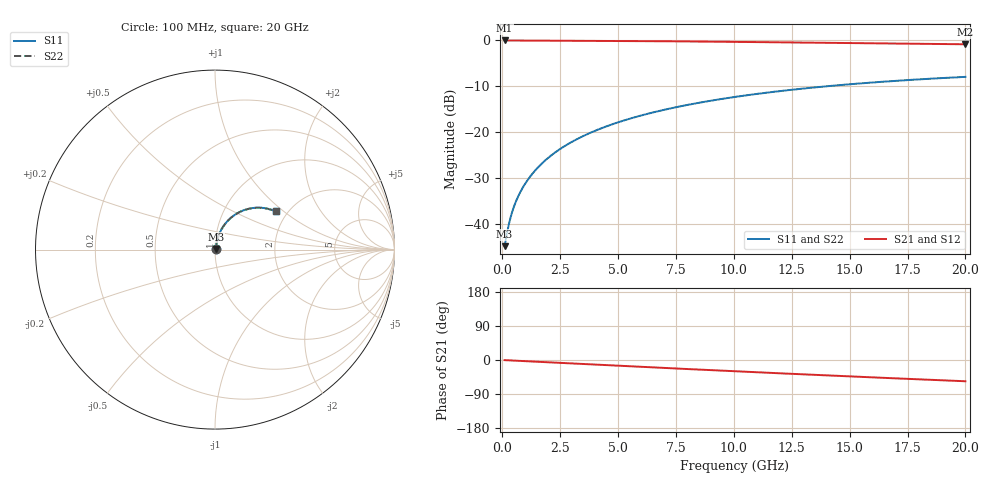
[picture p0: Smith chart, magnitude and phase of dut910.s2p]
! Touchstone file exported from HFSS 2026.1.0
!  File:  C:/ffzhzh/LocalFiles/Ansys_Project_Files/temp_train_TMRDL_910_1783157984_22436.aedt
!  Generated:  05:41:16 PM Jul  4, 2026
!  Design:  TMRDL
!  Project:  temp_train_TMRDL_910_1783157984_22436
! Variables:
!  h_bsmrdl = 2um
!  h_ox = 20um
!  h_rdl = 5um
!  h_sub = 80um
!  h_tmrdl = 2.38um
!  h_tsv = 80um
!  h_via = 3um
!  l_bsmrdl = 300um
!  l_sub = 1289.97um
!  l_tmrdl = 889.97um
!  m_sub = 200um
!  pitch = 50.93um
!  r_tsv = 6um
!  s_tmrdl = 10um
!  w_bsmrdl = 18um
!  w_sub = 500um
!  w_tmrdl = 29.57um
!  x_tsv_center1 = 904.755um
!  x_tsv_center2 = 1222.755um
!  x_tsv_center3 = 2142.295um
!  x_tsv_center4 = 2460.295um
!  x_tsv_center5 = 3379.835um
!  x_tsv_center6 = 3697.835um
# GHz S MA R 50.000000
! Terminal data exported
! Port[1] = TM_RDL1_1_T1
! Port[2] = TM_RDL1_1_T2
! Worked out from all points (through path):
!   200 points, 100 MHz to 20 GHz, reference 50 ohm
!   highest |S21| = -0.04 dB at 100 MHz (marker M1); lowest = -0.9 dB at 20 GHz (marker M2)
!   group delay of S21, straight-line fit = 7.8 ps
!   lowest |S11| = -44.9 dB at 100 MHz (marker M3), VSWR 1.01, Z = 50.5 + j0.305 ohm
!   |S11| at or under -10 dB: start of sweep to 14.09 GHz
!   |S22| runs from -44.9 to -8.0 dB; largest |S21 - S12| = 1.5e-14
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0.1  0.005677 32.1  0.9952 -0.3  0.9952 -0.3  0.005677 32.1
! Gamma 0 0 0 0
! Port Impedance 50 0 50 0
0.2  0.007822 49.3  0.9949 -0.7  0.9949 -0.7  0.007822 49.3
0.3  0.01028 57.8  0.9946 -1.0  0.9946 -1.0  0.01028 57.8
0.4  0.01278 62.6  0.9943 -1.3  0.9943 -1.3  0.01278 62.6
0.5  0.01526 65.8  0.994 -1.6  0.994 -1.6  0.01526 65.8
0.6  0.01771 68.1  0.9938 -1.9  0.9938 -1.9  0.01772 68.1
0.8  0.02262 71.2  0.9934 -2.5  0.9934 -2.5  0.02262 71.2
1.1  0.03004 73.9  0.993 -3.4  0.993 -3.4  0.03004 73.9
1.3  0.03502 74.9  0.9927 -4.0  0.9927 -4.0  0.03502 74.9
1.6  0.04254 75.9  0.9923 -4.9  0.9923 -4.9  0.04255 75.9
2.1  0.05515 76.3  0.9915 -6.4  0.9915 -6.4  0.05515 76.3
2.7  0.07029 76.0  0.9904 -8.2  0.9904 -8.2  0.07029 75.9
3.5  0.09036 74.7  0.9885 -10.6  0.9885 -10.6  0.09036 74.7
4.2  0.1077 73.3  0.9866 -12.7  0.9866 -12.7  0.1077 73.2
5  0.1273 71.4  0.984 -15.1  0.984 -15.1  0.1273 71.4
5.9  0.1489 69.1  0.9806 -17.7  0.9806 -17.7  0.1489 69.1
6.8  0.17 66.8  0.9768 -20.4  0.9768 -20.4  0.17 66.7
8.3  0.2038 62.7  0.9698 -24.7  0.9698 -24.7  0.2039 62.7
10.1  0.242 57.8  0.9603 -29.8  0.9603 -29.8  0.242 57.8
13.4  0.3045 49.0  0.9413 -39.0  0.9413 -39.0  0.3045 48.9
16.7  0.3568 40.5  0.9221 -47.7  0.9221 -47.7  0.3568 40.4
20  0.3988 32.3  0.9043 -56.1  0.9043 -56.1  0.3989 32.2
